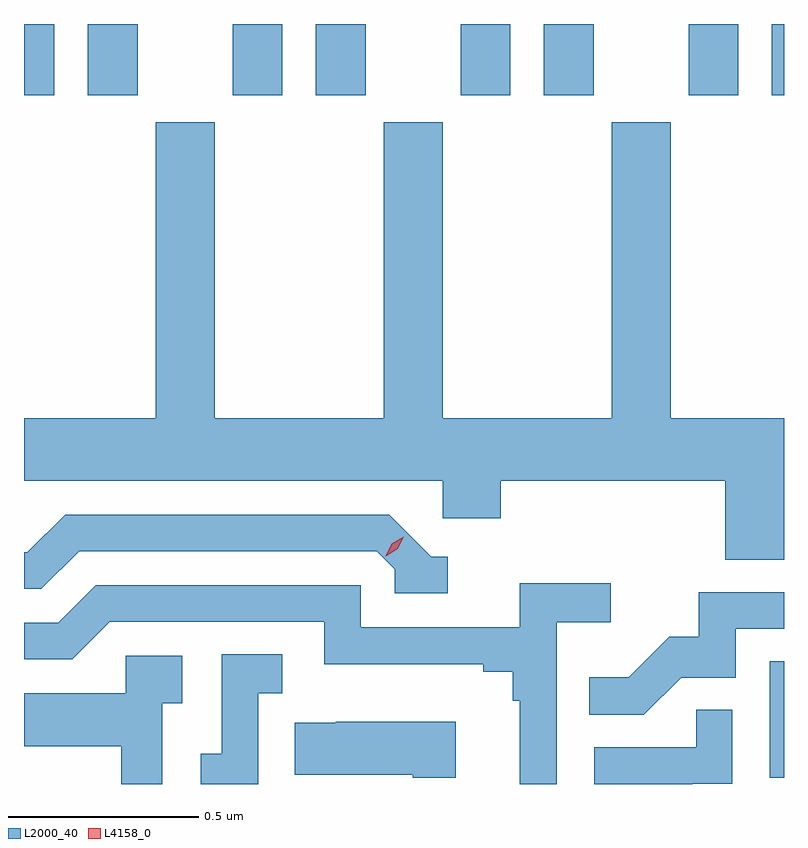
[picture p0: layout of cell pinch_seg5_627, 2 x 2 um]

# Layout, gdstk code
import gdstk
lib = gdstk.Library(unit=1e-6, precision=1e-09)
def R(c, l, rs):  # rectangles x0, y0, x1, y1
    for r in rs: c.add(gdstk.rectangle(r[:2], r[2:], *l))
def P(c, l, *ps):  # polygons
    for p in ps: c.add(gdstk.Polygon(p, *l))
L2000_40 = (2000, 40)
L4158_0 = (4158, 0)

pinch_seg5_627 = lib.new_cell('pinch_seg5_627')
R(pinch_seg5_627, L2000_40, [(1079.114,867.966,1079.152,868.273), (1077.152,869.763,1077.232,869.95), (1077.32,869.763,1077.451,869.95), (1077.701,869.763,1077.832,869.95), (1077.92,869.763,1078.051,869.95), (1078.301,869.763,1078.432,869.95), (1078.52,869.763,1078.651,869.95), (1078.901,869.763,1079.032,869.95), (1079.12,869.763,1079.152,869.95)])
P(pinch_seg5_627, L2000_40, [(1079.152,868.912),(1078.854,868.912),(1078.854,869.692),(1078.699,869.692),(1078.699,868.912),(1078.254,868.912),(1078.254,869.692),(1078.099,869.692),(1078.099,868.912),(1077.654,868.912),(1077.654,869.692),(1077.499,869.692),(1077.499,868.912),(1077.152,868.912),(1077.152,868.748),(1078.254,868.748),(1078.254,868.65),(1078.406,868.65),(1078.406,868.748),(1078.997,868.748),(1078.997,868.54),(1079.152,868.54)],
  [(1078.267,868.548),(1078.224,868.548),(1078.113,868.659),(1077.26,868.659),(1077.161,868.56),(1077.152,868.56),(1077.152,868.464),(1077.198,868.464),(1077.297,868.563),(1078.08,868.563),(1078.128,868.515),(1078.128,868.452),(1078.267,868.452)],
  [(1078.554,868.376),(1078.696,868.376),(1078.696,868.478),(1078.457,868.478),(1078.457,868.362),(1078.038,868.362),(1078.038,868.473),(1077.341,868.473),(1077.242,868.374),(1077.152,868.374),(1077.152,868.278),(1077.279,868.278),(1077.378,868.377),(1077.942,868.377),(1077.942,868.265),(1078.361,868.265),(1078.361,868.246),(1078.438,868.246),(1078.438,868.169),(1078.457,868.169),(1078.457,867.95),(1078.554,867.95)],
  [(1078.881,868.23),(1079.025,868.23),(1079.025,868.359),(1079.152,868.359),(1079.152,868.455),(1078.927,868.455),(1078.927,868.338),(1078.85,868.338),(1078.743,868.231),(1078.639,868.231),(1078.639,868.132),(1078.783,868.132)],
  [(1077.768,868.189),(1077.832,868.189),(1077.832,868.292),(1077.672,868.292),(1077.672,868.029),(1077.617,868.029),(1077.617,867.95),(1077.768,867.95)],
  [(1077.516,868.163),(1077.568,868.163),(1077.568,868.287),(1077.42,868.287),(1077.42,868.189),(1077.152,868.189),(1077.152,868.049),(1077.408,868.049),(1077.408,867.95),(1077.516,867.95)],
  [(1078.91,867.951),(1079.016,867.951),(1079.016,868.145),(1078.921,868.145),(1078.921,868.047),(1078.652,868.047),(1078.652,867.95),(1078.91,867.95)],
  [(1078.288,868.114),(1077.973,868.114),(1077.973,868.111),(1077.865,868.111),(1077.865,867.974),(1078.175,867.974),(1078.175,867.967),(1078.288,867.967)])
P(pinch_seg5_627, L4158_0, [(1078.104,868.55),(1078.104,868.55),(1078.12,868.582),(1078.151,868.601),(1078.151,868.601),(1078.151,868.601),(1078.135,868.569),(1078.104,868.55)])

lib.write_gds('pinch_seg5_627.gds')
